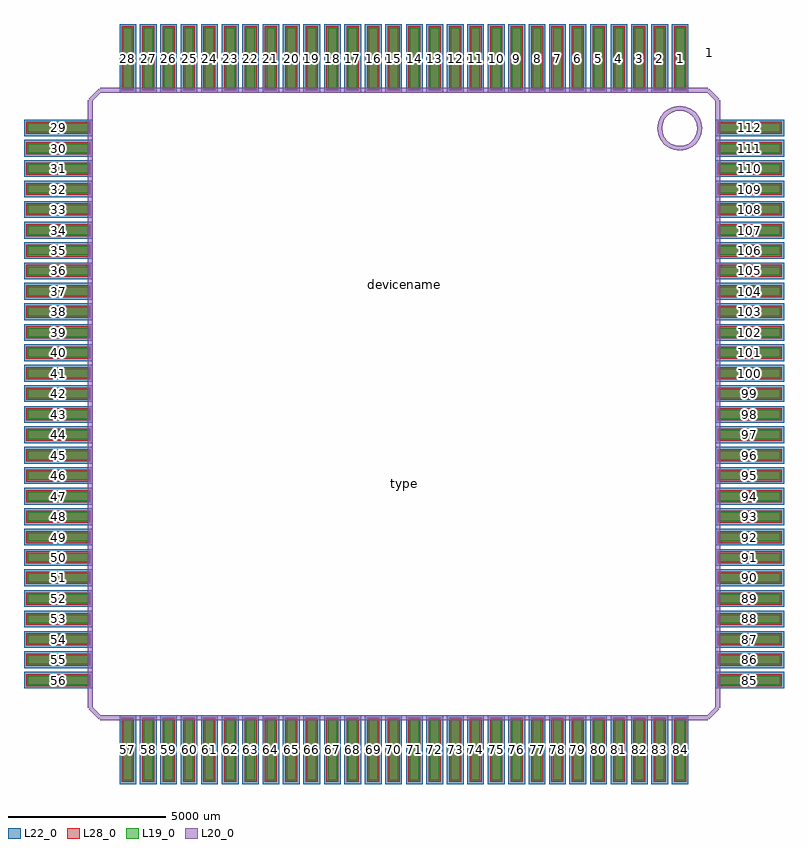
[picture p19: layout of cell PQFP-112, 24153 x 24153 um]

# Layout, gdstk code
import gdstk
lib = gdstk.Library(unit=1e-6, precision=1e-09)
def R(c, l, rs):  # rectangles x0, y0, x1, y1
    for r in rs: c.add(gdstk.rectangle(r[:2], r[2:], *l))
def A(c, l, x, y, w, h, nx, ny, dx, dy):  # array of equal rectangles
    R(c, l, [(x+i*dx, y+j*dy, x+i*dx+w, y+j*dy+h) for i in range(nx) for j in range(ny)])
L19_0 = (19, 0)
L20_0 = (20, 0)
L22_0 = (22, 0)
L28_0 = (28, 0)

pqfp_112 = lib.new_cell('PQFP-112')
A(pqfp_112, L19_0, -8916.2, -11951.5, 281, 1932, 5, 2, 647.7, 21971)
A(pqfp_112, L19_0, -5665, -11951.5, 281, 1932, 5, 2, 647.7, 21971)
A(pqfp_112, L19_0, -2413.8, -11951.5, 281, 1932, 4, 2, 647.7, 21971)
A(pqfp_112, L19_0, 189.7, -11951.5, 281, 1932, 4, 2, 647.7, 21971)
A(pqfp_112, L19_0, 2793.2, -11951.5, 281, 1932, 5, 2, 647.7, 21971)
A(pqfp_112, L19_0, 6044.4, -11951.5, 281, 1932, 5, 2, 647.7, 21971)
A(pqfp_112, L19_0, -11951.5, -8916.2, 1932, 281, 1, 5, 0, 647.7)
A(pqfp_112, L19_0, 10019.5, -8916.2, 1932, 281, 1, 5, 0, 647.7)
A(pqfp_112, L19_0, -11951.5, -5665, 1932, 281, 1, 5, 0, 647.7)
A(pqfp_112, L19_0, 10019.5, -5665, 1932, 281, 1, 5, 0, 647.7)
A(pqfp_112, L19_0, -11951.5, -2413.8, 1932, 281, 1, 4, 0, 647.7)
A(pqfp_112, L19_0, 10019.5, -2413.8, 1932, 281, 1, 4, 0, 647.7)
A(pqfp_112, L19_0, -11951.5, 189.7, 1932, 281, 1, 4, 0, 647.7)
A(pqfp_112, L19_0, 10019.5, 189.7, 1932, 281, 1, 4, 0, 647.7)
A(pqfp_112, L19_0, -11951.5, 2793.2, 1932, 281, 1, 5, 0, 647.7)
A(pqfp_112, L19_0, 10019.5, 2793.2, 1932, 281, 1, 5, 0, 647.7)
A(pqfp_112, L19_0, -11951.5, 6044.4, 1932, 281, 1, 5, 0, 647.7)
A(pqfp_112, L19_0, 10019.5, 6044.4, 1932, 281, 1, 5, 0, 647.7)
A(pqfp_112, L22_0, -9041.2, -12076.5, 531, 2182, 5, 2, 647.7, 21971)
A(pqfp_112, L22_0, -5790, -12076.5, 531, 2182, 5, 2, 647.7, 21971)
A(pqfp_112, L22_0, -2538.8, -12076.5, 531, 2182, 4, 2, 647.7, 21971)
A(pqfp_112, L22_0, 64.7, -12076.5, 531, 2182, 4, 2, 647.7, 21971)
A(pqfp_112, L22_0, 2668.2, -12076.5, 531, 2182, 5, 2, 647.7, 21971)
A(pqfp_112, L22_0, 5919.4, -12076.5, 531, 2182, 5, 2, 647.7, 21971)
A(pqfp_112, L22_0, -12076.5, -9041.2, 2182, 531, 1, 5, 0, 647.7)
A(pqfp_112, L22_0, 9894.5, -9041.2, 2182, 531, 1, 5, 0, 647.7)
A(pqfp_112, L22_0, -12076.5, -5790, 2182, 531, 1, 5, 0, 647.7)
A(pqfp_112, L22_0, 9894.5, -5790, 2182, 531, 1, 5, 0, 647.7)
A(pqfp_112, L22_0, -12076.5, -2538.8, 2182, 531, 1, 4, 0, 647.7)
A(pqfp_112, L22_0, 9894.5, -2538.8, 2182, 531, 1, 4, 0, 647.7)
A(pqfp_112, L22_0, -12076.5, 64.7, 2182, 531, 1, 4, 0, 647.7)
A(pqfp_112, L22_0, 9894.5, 64.7, 2182, 531, 1, 4, 0, 647.7)
A(pqfp_112, L22_0, -12076.5, 2668.2, 2182, 531, 1, 5, 0, 647.7)
A(pqfp_112, L22_0, 9894.5, 2668.2, 2182, 531, 1, 5, 0, 647.7)
A(pqfp_112, L22_0, -12076.5, 5919.4, 2182, 531, 1, 5, 0, 647.7)
A(pqfp_112, L22_0, 9894.5, 5919.4, 2182, 531, 1, 5, 0, 647.7)
A(pqfp_112, L28_0, -8966.2, -12001.5, 381, 2032, 5, 2, 647.7, 21971)
A(pqfp_112, L28_0, -5715, -12001.5, 381, 2032, 5, 2, 647.7, 21971)
A(pqfp_112, L28_0, -2463.8, -12001.5, 381, 2032, 4, 2, 647.7, 21971)
A(pqfp_112, L28_0, 139.7, -12001.5, 381, 2032, 4, 2, 647.7, 21971)
A(pqfp_112, L28_0, 2743.2, -12001.5, 381, 2032, 5, 2, 647.7, 21971)
A(pqfp_112, L28_0, 5994.4, -12001.5, 381, 2032, 5, 2, 647.7, 21971)
A(pqfp_112, L28_0, -12001.5, -8966.2, 2032, 381, 1, 5, 0, 647.7)
A(pqfp_112, L28_0, 9969.5, -8966.2, 2032, 381, 1, 5, 0, 647.7)
A(pqfp_112, L28_0, -12001.5, -5715, 2032, 381, 1, 5, 0, 647.7)
A(pqfp_112, L28_0, 9969.5, -5715, 2032, 381, 1, 5, 0, 647.7)
A(pqfp_112, L28_0, -12001.5, -2463.8, 2032, 381, 1, 4, 0, 647.7)
A(pqfp_112, L28_0, 9969.5, -2463.8, 2032, 381, 1, 4, 0, 647.7)
A(pqfp_112, L28_0, -12001.5, 139.7, 2032, 381, 1, 4, 0, 647.7)
A(pqfp_112, L28_0, 9969.5, 139.7, 2032, 381, 1, 4, 0, 647.7)
A(pqfp_112, L28_0, -12001.5, 2743.2, 2032, 381, 1, 5, 0, 647.7)
A(pqfp_112, L28_0, 9969.5, 2743.2, 2032, 381, 1, 5, 0, 647.7)
A(pqfp_112, L28_0, -12001.5, 5994.4, 2032, 381, 1, 5, 0, 647.7)
A(pqfp_112, L28_0, 9969.5, 5994.4, 2032, 381, 1, 5, 0, 647.7)
pqfp_112.add(gdstk.FlexPath([(9969.5,9652),(9652,9969.5)], 149.998, ends="flush", simple_path=True, layer=20, datatype=0))  # L20_0
pqfp_112.add(gdstk.FlexPath([(-9969.5,9652),(-9652,9969.5)], 149.998, ends="flush", simple_path=True, layer=20, datatype=0))  # L20_0
pqfp_112.add(gdstk.FlexPath([(9969.5,-9652),(9652,-9969.5)], 149.998, ends="flush", simple_path=True, layer=20, datatype=0))  # L20_0
pqfp_112.add(gdstk.FlexPath([(-9969.5,-9652),(-9652,-9969.5)], 149.998, ends="flush", simple_path=True, layer=20, datatype=0))  # L20_0
pqfp_112.add(gdstk.FlexPath([(9652,-9969.5),(-9652,-9969.5)], 149.998, ends="flush", simple_path=True, layer=20, datatype=0))  # L20_0
pqfp_112.add(gdstk.FlexPath([(-9652,9969.5),(9652,9969.5)], 149.998, ends="flush", simple_path=True, layer=20, datatype=0))  # L20_0
pqfp_112.add(gdstk.FlexPath([(-9969.5,9652),(-9969.5,-9652)], 149.998, ends="flush", simple_path=True, layer=20, datatype=0))  # L20_0
pqfp_112.add(gdstk.FlexPath([(9969.5,-9652),(9969.5,9652)], 149.998, ends="flush", simple_path=True, layer=20, datatype=0))  # L20_0
pqfp_112.add(gdstk.FlexPath([(8763,8128),(8927.35,8149.637),(9080.5,8213.074),(9212.013,8313.987),(9312.926,8445.5),(9376.363,8598.65),(9398,8763),(9376.363,8927.35),(9312.926,9080.5),(9212.013,9212.013),(9080.5,9312.926),(8927.35,9376.363),(8763,9398),(8598.65,9376.363),(8445.5,9312.926),(8313.987,9212.013),(8213.074,9080.5),(8149.637,8927.35),(8128,8763),(8149.637,8598.65),(8213.074,8445.5),(8313.987,8313.987),(8445.5,8213.074),(8598.65,8149.637),(8763,8128)], 149.998, ends="flush", simple_path=True, layer=20, datatype=0))  # L20_0
pqfp_112.add(gdstk.Label('112', (10985.5,8775.7), layer=28, texttype=0))
pqfp_112.add(gdstk.Label('111', (10985.5,8128), layer=28, texttype=0))
pqfp_112.add(gdstk.Label('110', (10985.5,7480.3), layer=28, texttype=0))
pqfp_112.add(gdstk.Label('109', (10985.5,6832.6), layer=28, texttype=0))
pqfp_112.add(gdstk.Label('108', (10985.5,6184.9), layer=28, texttype=0))
pqfp_112.add(gdstk.Label('107', (10985.5,5524.5), layer=28, texttype=0))
pqfp_112.add(gdstk.Label('106', (10985.5,4876.8), layer=28, texttype=0))
pqfp_112.add(gdstk.Label('105', (10985.5,4229.1), layer=28, texttype=0))
pqfp_112.add(gdstk.Label('104', (10985.5,3581.4), layer=28, texttype=0))
pqfp_112.add(gdstk.Label('103', (10985.5,2933.7), layer=28, texttype=0))
pqfp_112.add(gdstk.Label('102', (10985.5,2273.3), layer=28, texttype=0))
pqfp_112.add(gdstk.Label('101', (10985.5,1625.6), layer=28, texttype=0))
pqfp_112.add(gdstk.Label('100', (10985.5,977.9), layer=28, texttype=0))
pqfp_112.add(gdstk.Label('99', (10985.5,330.2), layer=28, texttype=0))
pqfp_112.add(gdstk.Label('98', (10985.5,-330.2), layer=28, texttype=0))
pqfp_112.add(gdstk.Label('97', (10985.5,-977.9), layer=28, texttype=0))
pqfp_112.add(gdstk.Label('96', (10985.5,-1625.6), layer=28, texttype=0))
pqfp_112.add(gdstk.Label('95', (10985.5,-2273.3), layer=28, texttype=0))
pqfp_112.add(gdstk.Label('94', (10985.5,-2933.7), layer=28, texttype=0))
pqfp_112.add(gdstk.Label('93', (10985.5,-3581.4), layer=28, texttype=0))
pqfp_112.add(gdstk.Label('92', (10985.5,-4229.1), layer=28, texttype=0))
pqfp_112.add(gdstk.Label('91', (10985.5,-4876.8), layer=28, texttype=0))
pqfp_112.add(gdstk.Label('90', (10985.5,-5524.5), layer=28, texttype=0))
pqfp_112.add(gdstk.Label('89', (10985.5,-6184.9), layer=28, texttype=0))
pqfp_112.add(gdstk.Label('88', (10985.5,-6832.6), layer=28, texttype=0))
pqfp_112.add(gdstk.Label('87', (10985.5,-7480.3), layer=28, texttype=0))
pqfp_112.add(gdstk.Label('86', (10985.5,-8128), layer=28, texttype=0))
pqfp_112.add(gdstk.Label('85', (10985.5,-8775.7), layer=28, texttype=0))
pqfp_112.add(gdstk.Label('84', (8775.7,-10985.5), layer=28, texttype=0))
pqfp_112.add(gdstk.Label('83', (8128,-10985.5), layer=28, texttype=0))
pqfp_112.add(gdstk.Label('82', (7480.3,-10985.5), layer=28, texttype=0))
pqfp_112.add(gdstk.Label('81', (6832.6,-10985.5), layer=28, texttype=0))
pqfp_112.add(gdstk.Label('80', (6184.9,-10985.5), layer=28, texttype=0))
pqfp_112.add(gdstk.Label('79', (5524.5,-10985.5), layer=28, texttype=0))
pqfp_112.add(gdstk.Label('78', (4876.8,-10985.5), layer=28, texttype=0))
pqfp_112.add(gdstk.Label('77', (4229.1,-10985.5), layer=28, texttype=0))
pqfp_112.add(gdstk.Label('76', (3581.4,-10985.5), layer=28, texttype=0))
pqfp_112.add(gdstk.Label('75', (2933.7,-10985.5), layer=28, texttype=0))
pqfp_112.add(gdstk.Label('74', (2273.3,-10985.5), layer=28, texttype=0))
pqfp_112.add(gdstk.Label('73', (1625.6,-10985.5), layer=28, texttype=0))
pqfp_112.add(gdstk.Label('72', (977.9,-10985.5), layer=28, texttype=0))
pqfp_112.add(gdstk.Label('71', (330.2,-10985.5), layer=28, texttype=0))
pqfp_112.add(gdstk.Label('70', (-330.2,-10985.5), layer=28, texttype=0))
pqfp_112.add(gdstk.Label('69', (-977.9,-10985.5), layer=28, texttype=0))
pqfp_112.add(gdstk.Label('68', (-1625.6,-10985.5), layer=28, texttype=0))
pqfp_112.add(gdstk.Label('67', (-2273.3,-10985.5), layer=28, texttype=0))
pqfp_112.add(gdstk.Label('66', (-2933.7,-10985.5), layer=28, texttype=0))
pqfp_112.add(gdstk.Label('65', (-3581.4,-10985.5), layer=28, texttype=0))
pqfp_112.add(gdstk.Label('64', (-4229.1,-10985.5), layer=28, texttype=0))
pqfp_112.add(gdstk.Label('63', (-4876.8,-10985.5), layer=28, texttype=0))
pqfp_112.add(gdstk.Label('62', (-5524.5,-10985.5), layer=28, texttype=0))
pqfp_112.add(gdstk.Label('61', (-6184.9,-10985.5), layer=28, texttype=0))
pqfp_112.add(gdstk.Label('60', (-6832.6,-10985.5), layer=28, texttype=0))
pqfp_112.add(gdstk.Label('59', (-7480.3,-10985.5), layer=28, texttype=0))
pqfp_112.add(gdstk.Label('58', (-8128,-10985.5), layer=28, texttype=0))
pqfp_112.add(gdstk.Label('57', (-8775.7,-10985.5), layer=28, texttype=0))
pqfp_112.add(gdstk.Label('56', (-10985.5,-8775.7), layer=28, texttype=0))
pqfp_112.add(gdstk.Label('55', (-10985.5,-8128), layer=28, texttype=0))
pqfp_112.add(gdstk.Label('54', (-10985.5,-7480.3), layer=28, texttype=0))
pqfp_112.add(gdstk.Label('53', (-10985.5,-6832.6), layer=28, texttype=0))
pqfp_112.add(gdstk.Label('52', (-10985.5,-6184.9), layer=28, texttype=0))
pqfp_112.add(gdstk.Label('51', (-10985.5,-5524.5), layer=28, texttype=0))
pqfp_112.add(gdstk.Label('50', (-10985.5,-4876.8), layer=28, texttype=0))
pqfp_112.add(gdstk.Label('49', (-10985.5,-4229.1), layer=28, texttype=0))
pqfp_112.add(gdstk.Label('48', (-10985.5,-3581.4), layer=28, texttype=0))
pqfp_112.add(gdstk.Label('47', (-10985.5,-2933.7), layer=28, texttype=0))
pqfp_112.add(gdstk.Label('46', (-10985.5,-2273.3), layer=28, texttype=0))
pqfp_112.add(gdstk.Label('45', (-10985.5,-1625.6), layer=28, texttype=0))
pqfp_112.add(gdstk.Label('44', (-10985.5,-977.9), layer=28, texttype=0))
pqfp_112.add(gdstk.Label('43', (-10985.5,-330.2), layer=28, texttype=0))
pqfp_112.add(gdstk.Label('42', (-10985.5,330.2), layer=28, texttype=0))
pqfp_112.add(gdstk.Label('41', (-10985.5,977.9), layer=28, texttype=0))
pqfp_112.add(gdstk.Label('40', (-10985.5,1625.6), layer=28, texttype=0))
pqfp_112.add(gdstk.Label('39', (-10985.5,2273.3), layer=28, texttype=0))
pqfp_112.add(gdstk.Label('38', (-10985.5,2933.7), layer=28, texttype=0))
pqfp_112.add(gdstk.Label('37', (-10985.5,3581.4), layer=28, texttype=0))
pqfp_112.add(gdstk.Label('36', (-10985.5,4229.1), layer=28, texttype=0))
pqfp_112.add(gdstk.Label('35', (-10985.5,4876.8), layer=28, texttype=0))
pqfp_112.add(gdstk.Label('34', (-10985.5,5524.5), layer=28, texttype=0))
pqfp_112.add(gdstk.Label('33', (-10985.5,6184.9), layer=28, texttype=0))
pqfp_112.add(gdstk.Label('32', (-10985.5,6832.6), layer=28, texttype=0))
pqfp_112.add(gdstk.Label('31', (-10985.5,7480.3), layer=28, texttype=0))
pqfp_112.add(gdstk.Label('30', (-10985.5,8128), layer=28, texttype=0))
pqfp_112.add(gdstk.Label('29', (-10985.5,8775.7), layer=28, texttype=0))
pqfp_112.add(gdstk.Label('28', (-8775.7,10985.5), layer=28, texttype=0))
pqfp_112.add(gdstk.Label('27', (-8128,10985.5), layer=28, texttype=0))
pqfp_112.add(gdstk.Label('26', (-7480.3,10985.5), layer=28, texttype=0))
pqfp_112.add(gdstk.Label('25', (-6832.6,10985.5), layer=28, texttype=0))
pqfp_112.add(gdstk.Label('24', (-6184.9,10985.5), layer=28, texttype=0))
pqfp_112.add(gdstk.Label('23', (-5524.5,10985.5), layer=28, texttype=0))
pqfp_112.add(gdstk.Label('22', (-4876.8,10985.5), layer=28, texttype=0))
pqfp_112.add(gdstk.Label('21', (-4229.1,10985.5), layer=28, texttype=0))
pqfp_112.add(gdstk.Label('20', (-3581.4,10985.5), layer=28, texttype=0))
pqfp_112.add(gdstk.Label('19', (-2933.7,10985.5), layer=28, texttype=0))
pqfp_112.add(gdstk.Label('18', (-2273.3,10985.5), layer=28, texttype=0))
pqfp_112.add(gdstk.Label('17', (-1625.6,10985.5), layer=28, texttype=0))
pqfp_112.add(gdstk.Label('16', (-977.9,10985.5), layer=28, texttype=0))
pqfp_112.add(gdstk.Label('15', (-330.2,10985.5), layer=28, texttype=0))
pqfp_112.add(gdstk.Label('14', (330.2,10985.5), layer=28, texttype=0))
pqfp_112.add(gdstk.Label('13', (977.9,10985.5), layer=28, texttype=0))
pqfp_112.add(gdstk.Label('12', (1625.6,10985.5), layer=28, texttype=0))
pqfp_112.add(gdstk.Label('11', (2273.3,10985.5), layer=28, texttype=0))
pqfp_112.add(gdstk.Label('10', (2933.7,10985.5), layer=28, texttype=0))
pqfp_112.add(gdstk.Label('9', (3581.4,10985.5), layer=28, texttype=0))
pqfp_112.add(gdstk.Label('8', (4229.1,10985.5), layer=28, texttype=0))
pqfp_112.add(gdstk.Label('7', (4876.8,10985.5), layer=28, texttype=0))
pqfp_112.add(gdstk.Label('6', (5524.5,10985.5), layer=28, texttype=0))
pqfp_112.add(gdstk.Label('5', (6184.9,10985.5), layer=28, texttype=0))
pqfp_112.add(gdstk.Label('4', (6832.6,10985.5), layer=28, texttype=0))
pqfp_112.add(gdstk.Label('3', (7480.3,10985.5), layer=28, texttype=0))
pqfp_112.add(gdstk.Label('2', (8128,10985.5), layer=28, texttype=0))
pqfp_112.add(gdstk.Label('1', (8775.7,10985.5), layer=28, texttype=0))
pqfp_112.add(gdstk.Label('1', (9715.5,11176), layer=9, texttype=0))
pqfp_112.add(gdstk.Label('type', (0,-2540), layer=9, texttype=0))
pqfp_112.add(gdstk.Label('devicename', (0,3807.46), layer=9, texttype=0))

lib.write_gds('PQFP-112.gds')
